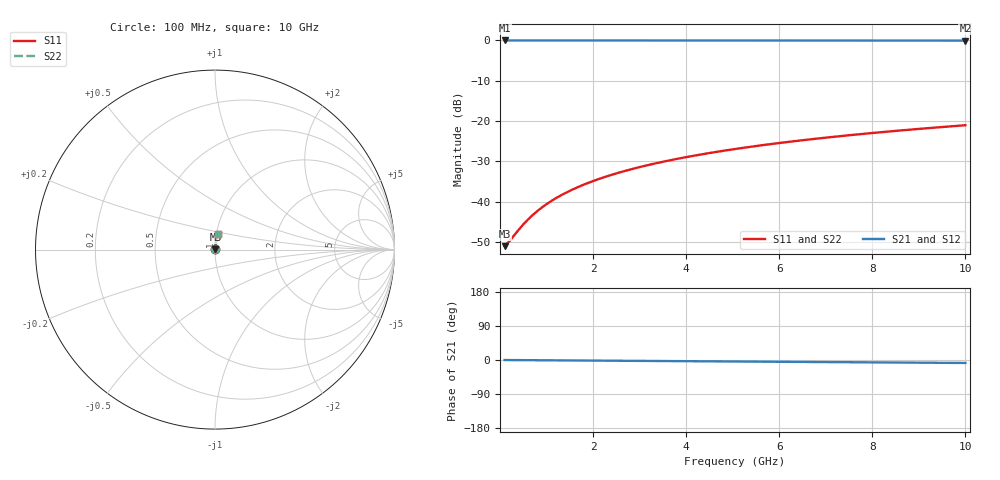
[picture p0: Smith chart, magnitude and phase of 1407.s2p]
# Hz S RI R 50.00
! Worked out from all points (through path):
!   100 points, 100 MHz to 10 GHz, reference 50 ohm
!   highest |S21| = -0.02 dB at 100 MHz (marker M1); lowest = -0.1 dB at 10 GHz (marker M2)
!   group delay of S21, straight-line fit = 2.17 ps
!   lowest |S11| = -51.1 dB at 100 MHz (marker M3), VSWR 1.01, Z = 50.3 + j0.0888 ohm
!   |S11| at or under -10 dB: start of sweep to end of sweep
!   |S22| runs from -51.1 to -21.1 dB; largest |S21 - S12| = 0
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1e8  0.00265 0.000884  0.9973 -0.00136  0.9973 -0.00136  0.00265 0.000884
2e8  0.00268 0.00177  0.9973 -0.00272  0.9973 -0.00272  0.00268 0.00177
4e8  0.00271 0.00353  0.9973 -0.00544  0.9973 -0.00544  0.00271 0.00353
5e8  0.00273 0.00442  0.9973 -0.0068  0.9973 -0.0068  0.00273 0.00442
6e8  0.00275 0.0053  0.9972 -0.00816  0.9972 -0.00816  0.00275 0.0053
7e8  0.00278 0.00618  0.9972 -0.00952  0.9972 -0.00952  0.00278 0.00618
9e8  0.00283 0.00795  0.9972 -0.0122  0.9972 -0.0122  0.00283 0.00795
1.1e9  0.00289 0.00972  0.9971 -0.015  0.9971 -0.015  0.00289 0.00972
1.3e9  0.00295 0.0115  0.997 -0.0177  0.997 -0.0177  0.00295 0.0115
1.5e9  0.00303 0.0132  0.9969 -0.0204  0.9969 -0.0204  0.00303 0.0132
1.8e9  0.00316 0.0159  0.9968 -0.0245  0.9968 -0.0245  0.00316 0.0159
2.1e9  0.00331 0.0185  0.9966 -0.0286  0.9966 -0.0286  0.00331 0.0185
2.5e9  0.00355 0.0221  0.9964 -0.034  0.9964 -0.034  0.00355 0.0221
2.9e9  0.00382 0.0256  0.9961 -0.0394  0.9961 -0.0394  0.00382 0.0256
3.4e9  0.00421 0.03  0.9956 -0.0462  0.9956 -0.0462  0.00421 0.03
4.2e9  0.00496 0.037  0.9948 -0.0571  0.9948 -0.0571  0.00496 0.037
5.1e9  0.00599 0.0449  0.9937 -0.0692  0.9937 -0.0692  0.00599 0.0449
5.9e9  0.00707 0.0519  0.9925 -0.0801  0.9925 -0.0801  0.00707 0.0519
6.7e9  0.00829 0.0588  0.9912 -0.0908  0.9912 -0.0908  0.00829 0.0588
7.5e9  0.00967 0.0658  0.9897 -0.1016  0.9897 -0.1016  0.00967 0.0658
8.4e9  0.0114 0.0735  0.9878 -0.1137  0.9878 -0.1137  0.0114 0.0735
1e10  0.015 0.0872  0.9839 -0.1351  0.9839 -0.1351  0.015 0.0872
